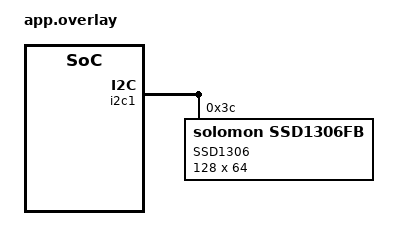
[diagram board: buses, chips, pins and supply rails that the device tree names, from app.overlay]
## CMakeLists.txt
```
cmake_minimum_required(VERSION 3.20)
set(BOARD esp32_devkitc_wrover)

find_package(Zephyr)
project(zephyr_ssd1306)

target_sources(app PRIVATE src/main.c)
```

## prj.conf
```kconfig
CONFIG_I2C=y
CONFIG_DISPLAY=y
CONFIG_SSD1306=y
CONFIG_LOG=y
CONFIG_LOG_BACKEND_UART=y
CONFIG_UART_ASYNC_API=y
CONFIG_SSD1306_SH1106_COMPATIBLE=n
CONFIG_CHARACTER_FRAMEBUFFER=y
CONFIG_CFB_LOG_LEVEL_DBG=y
CONFIG_STDOUT_CONSOLE=y
CONFIG_PRINTK=y
CONFIG_HEAP_MEM_POOL_SIZE=4096
```

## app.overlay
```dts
&i2c1 {
	compatible = "nordic,nrf-twim";
		status = "okay";                                                                      
        zephyr,concat-buf-size = <2048>;  
		
		ssd1306: ssd1306@3c {
			compatible = "solomon,ssd1306fb";
			reg = <0x3c>;
			label = "SSD1306";
			width = <128>;
			height = <64>;
			segment-offset = <0>;
			page-offset = <0>;
			display-offset = <0>;
			segment-remap;
			com-invdir;
			prechargep = <0x22>;
			multiplex-ratio = <63>;
		};
};
```

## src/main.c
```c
#include <stdint.h>
#include <zephyr/device.h>
#include <zephyr/kernel.h>
#include <zephyr/drivers/display.h>
#include <zephyr/logging/log.h>
#include <zephyr/drivers/gpio.h>
#include <zephyr/display/cfb.h>

#include "logo_image.h"

#define DISPLAY_BUFFER_PITCH 128

#define LED0_NODE DT_ALIAS(led0)

static const struct gpio_dt_spec led0 = GPIO_DT_SPEC_GET(LED0_NODE, gpios);

LOG_MODULE_REGISTER(display);

static const struct device *display = DEVICE_DT_GET(DT_NODELABEL(ssd1306));

const struct device *uart = DEVICE_DT_GET(DT_NODELABEL(uart0));

void main(void)
{
  if (!device_is_ready(uart))
  {
    return;
  }

  printf("Hello World! %s\n", CONFIG_BOARD);
  gpio_pin_configure_dt(&led0, GPIO_OUTPUT_ACTIVE);
  gpio_pin_set_dt(&led0, 0);

  if (display == NULL)
  {
    LOG_ERR("device pointer is NULL");
    return;
  }

  if (!device_is_ready(display))
  {
    LOG_ERR("display device is not ready,%d, %d", display, display->name);
    while (true)
    {
      gpio_pin_toggle_dt(&led0);
      k_sleep(K_SECONDS(1));
    }

    return;
  }

  struct display_capabilities capabilities;
  display_get_capabilities(display, &capabilities);

  const uint16_t x_res = capabilities.x_resolution;
  const uint16_t y_res = capabilities.y_resolution;

  LOG_INF("x_resolution: %d", x_res);
  LOG_INF("y_resolution: %d", y_res);
  LOG_INF("supported pixel formats: %d", capabilities.supported_pixel_formats);
  LOG_INF("screen_info: %d", capabilities.screen_info);
  LOG_INF("current_pixel_format: %d", capabilities.current_pixel_format);
  LOG_INF("current_orientation: %d", capabilities.current_orientation);

  const struct display_buffer_descriptor buf_desc = {
      .width = x_res,
      .height = y_res,
      .buf_size = x_res * y_res,
      .pitch = DISPLAY_BUFFER_PITCH};

  cfb_framebuffer_clear(display, true);
  if (cfb_framebuffer_init(display) != 0)
  {
    LOG_ERR("Framebuffer initialization failed!");
    return;
  }

  if (display_set_contrast(display, 0) != 0)
  {
    LOG_ERR("could not set display contrast");
  }
  size_t ms_sleep = 5;

  gpio_pin_toggle_dt(&led0);

  while (true)
  {

    gpio_pin_toggle_dt(&led0);

    k_sleep(K_SECONDS(2));

    if (display_write(display, 0, 0, &buf_desc, buf) != 0)
    {
      LOG_ERR("could not write to display");
    }
    manipulate_display_contrast(display, ms_sleep);

    k_sleep(K_SECONDS(2));

    if (cfb_print(display, "Hello World!", 0, 0) != 0)
    {
      LOG_ERR("Failed to print a string on the screen!");
      return;
    }

    if (cfb_framebuffer_finalize(display) != 0)
    {
      LOG_ERR("Framebuffer finalization failed!");
      return;
    }

    manipulate_display_contrast(display, ms_sleep);
  }
}

void manipulate_display_contrast(const struct device *display, size_t ms_sleep)
{
  for (size_t i = 0; i < 255; i++)
  {
    display_set_contrast(display, i);
    k_sleep(K_MSEC(ms_sleep));
  }

  for (size_t i = 255; i > 0; i--)
  {
    display_set_contrast(display, i);
    k_sleep(K_MSEC(ms_sleep));
  }
}
```

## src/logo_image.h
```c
uint8_t buf[1024] = {
0x00, 0xff, 0xff, 0xff, 0xff, 0xff, 0xff, 0xff, 0xff, 0xff, 0xff, 0xff, 0xff, 0xff, 0xff, 0xff, 
0xff, 0xff, 0xff, 0xff, 0xff, 0xff, 0xff, 0xff, 0xff, 0xff, 0xff, 0xff, 0xff, 0xff, 0xff, 0xff, 
0xff, 0xff, 0xff, 0xff, 0xff, 0xff, 0xff, 0xff, 0xff, 0xff, 0x7f, 0x7f, 0x3f, 0x3f, 0x3f, 0x3f, 
0x1f, 0x1f, 0x1f, 0x1f, 0x1f, 0x1f, 0x1f, 0x1f, 0x1f, 0x1f, 0x1f, 0x1f, 0x1f, 0x1f, 0x1f, 0x1f, 
0x1f, 0x1f, 0x1f, 0x0f, 0x0f, 0x0f, 0x0f, 0x0f, 0x0f, 0x0f, 0x0f, 0x0f, 0x0f, 0x1f, 0x1f, 0x1f, 
0x1f, 0x1f, 0x1f, 0x3f, 0x3f, 0x3f, 0x7f, 0x7f, 0xff, 0xff, 0xff, 0xff, 0xff, 0xff, 0xff, 0xff, 
0xff, 0xff, 0xff, 0xff, 0xff, 0xff, 0xff, 0xff, 0xff, 0xff, 0xff, 0xff, 0xff, 0xff, 0xff, 0xff, 
0xff, 0xff, 0xff, 0xff, 0xff, 0xff, 0xff, 0xff, 0xff, 0xff, 0xff, 0xff, 0xff, 0xff, 0xff, 0x00, 
0x00, 0xff, 0xff, 0xff, 0xff, 0xff, 0xff, 0xff, 0xff, 0xff, 0xff, 0xff, 0xff, 0xff, 0xff, 0xff, 
0xff, 0xff, 0xff, 0xff, 0xff, 0xff, 0xff, 0xff, 0xff, 0xff, 0xff, 0xff, 0xff, 0xff, 0xff, 0xff, 
0xff, 0xff, 0x0f, 0x07, 0xc3, 0xe3, 0xf1, 0xf9, 0xfc, 0xfc, 0xfc, 0xfc, 0xfc, 0xfc, 0xfc, 0xfc, 
0xfc, 0xfc, 0xfc, 0xfc, 0xfc, 0xfc, 0xfc, 0xfc, 0xfc, 0xfc, 0xfc, 0xfc, 0xfc, 0xfc, 0xfe, 0xfe, 
0xfe, 0xfe, 0xfe, 0xfe, 0xfe, 0xfe, 0xfe, 0xfe, 0xfe, 0xfe, 0xfe, 0xdc, 0xcc, 0xf0, 0xe0, 0xe0, 
0xc0, 0x80, 0x80, 0x80, 0x00, 0x00, 0x00, 0x00, 0x00, 0x00, 0x00, 0x00, 0x00, 0x01, 0x01, 0x03, 
0x03, 0x07, 0x1f, 0x7f, 0xff, 0xff, 0xff, 0xff, 0xff, 0xff, 0xff, 0xff, 0xff, 0xff, 0xff, 0xff, 
0xff, 0xff, 0xff, 0xff, 0xff, 0xff, 0xff, 0xff, 0xff, 0xff, 0xff, 0xff, 0xff, 0xff, 0xff, 0x00, 
0x00, 0xff, 0xff, 0xff, 0xff, 0xff, 0xff, 0xff, 0xff, 0xff, 0xff, 0xff, 0xff, 0xff, 0xff, 0xff, 
0xff, 0xff, 0xff, 0xff, 0xff, 0xff, 0xff, 0xff, 0xff, 0xff, 0xff, 0xff, 0xff, 0xff, 0xff, 0xff, 
0xfb, 0x43, 0x90, 0xf0, 0xd9, 0xe9, 0xa9, 0xb1, 0xa1, 0x21, 0x01, 0x93, 0xc3, 0xe7, 0xfd, 0xff, 
0xff, 0xfd, 0xfd, 0xfd, 0xfe, 0xfb, 0xe1, 0xc1, 0xc1, 0xc0, 0xc0, 0x62, 0xe2, 0xe2, 0xe2, 0xf2, 
0xf2, 0xf2, 0xf2, 0xf2, 0xf6, 0xf4, 0xfd, 0xfd, 0xff, 0xff, 0xff, 0xff, 0xff, 0xff, 0xff, 0xff, 
0xff, 0xff, 0xff, 0xff, 0xff, 0xfe, 0x7e, 0x00, 0x00, 0xc0, 0xf0, 0xf0, 0xf0, 0xf0, 0xf0, 0xf8, 
0xb8, 0xb8, 0x38, 0x40, 0x40, 0xcf, 0x1f, 0xbf, 0xff, 0xff, 0xff, 0xff, 0xff, 0xff, 0xff, 0xff, 
0xff, 0xff, 0xff, 0xff, 0xff, 0xff, 0xff, 0xff, 0xff, 0xff, 0xff, 0xff, 0xff, 0xff, 0xff, 0x00, 
0x00, 0xff, 0xff, 0xff, 0xff, 0xff, 0xff, 0xff, 0xff, 0xff, 0xff, 0xff, 0xff, 0xff, 0xff, 0xff, 
0xff, 0xff, 0xff, 0xff, 0xff, 0xff, 0xff, 0xff, 0xff, 0xff, 0xff, 0xff, 0xff, 0xff, 0xff, 0xff, 
0xfd, 0xfb, 0x87, 0x0f, 0x0f, 0x0f, 0x0b, 0x03, 0x00, 0x03, 0x03, 0xab, 0xe7, 0xc7, 0xcb, 0xc3, 
0xc3, 0xc3, 0xc3, 0xc3, 0xc3, 0x43, 0x43, 0x41, 0x43, 0x43, 0x43, 0x41, 0x43, 0x03, 0x03, 0x07, 
0x07, 0x0f, 0x4f, 0x7b, 0x37, 0x07, 0x07, 0x07, 0x07, 0x07, 0x07, 0x07, 0x07, 0x03, 0x03, 0x03, 
0x13, 0x13, 0x91, 0xc1, 0x41, 0x40, 0x00, 0x00, 0x00, 0x0f, 0x0f, 0x6f, 0xef, 0xff, 0xf7, 0xc7, 
0x07, 0xf3, 0xfb, 0xff, 0xfd, 0xfe, 0xfe, 0xff, 0xff, 0xff, 0xff, 0xff, 0xff, 0xff, 0xff, 0xff, 
0xff, 0xff, 0xff, 0xff, 0xff, 0xff, 0xff, 0xff, 0xff, 0xff, 0xff, 0xff, 0xff, 0xff, 0xff, 0x00, 
0x00, 0xff, 0xff, 0xff, 0xff, 0xff, 0xff, 0xff, 0xff, 0xff, 0xff, 0xff, 0xff, 0xff, 0xff, 0xff, 
0xff, 0xff, 0xff, 0xff, 0xff, 0xff, 0xff, 0xff, 0xff, 0xff, 0xff, 0xff, 0xff, 0xff, 0xff, 0xff, 
0xff, 0xff, 0xff, 0xfe, 0xfc, 0xf8, 0x80, 0x80, 0x30, 0x30, 0x20, 0x00, 0x01, 0x05, 0x05, 0x00, 
0x00, 0x00, 0x00, 0x00, 0x00, 0x00, 0x00, 0x00, 0x00, 0x00, 0x00, 0x00, 0x00, 0x20, 0x30, 0x20, 
0x00, 0x00, 0x00, 0x04, 0x00, 0x80, 0x80, 0x80, 0xc0, 0xc0, 0xe0, 0xe0, 0xe0, 0xe0, 0xe0, 0xe0, 
0xf0, 0xf0, 0xf0, 0xf0, 0xf0, 0xf9, 0xf9, 0xf8, 0xf8, 0xfc, 0xfc, 0xfe, 0xff, 0xff, 0xff, 0xff, 
0xf0, 0x8f, 0x7f, 0xff, 0xff, 0xff, 0xff, 0xff, 0xff, 0xff, 0xff, 0xff, 0xff, 0xff, 0xff, 0xff, 
0xff, 0xff, 0xff, 0xff, 0xff, 0xff, 0xff, 0xff, 0xff, 0xff, 0xff, 0xff, 0xff, 0xff, 0xff, 0x00, 
0x00, 0xff, 0xff, 0xff, 0xff, 0xff, 0xff, 0xff, 0xff, 0xff, 0xff, 0xff, 0xff, 0xff, 0xff, 0xff, 
0xff, 0xff, 0xff, 0xff, 0xff, 0xff, 0xff, 0xff, 0xff, 0xff, 0xff, 0xff, 0xff, 0xff, 0xff, 0xff, 
0xff, 0xff, 0xff, 0xff, 0xff, 0xff, 0xff, 0xff, 0xff, 0xff, 0x7f, 0x7e, 0x7e, 0x7e, 0xfe, 0xfe, 
0xbe, 0xfe, 0xfe, 0xde, 0xc0, 0xfc, 0xfe, 0xfe, 0xfe, 0xfe, 0xfe, 0xfc, 0xfc, 0xfe, 0xfe, 0xfe, 
0xfe, 0xfe, 0xfe, 0xff, 0xff, 0xff, 0xff, 0xff, 0xff, 0xff, 0xff, 0xff, 0xff, 0xff, 0xff, 0xff, 
0xff, 0xff, 0xff, 0xff, 0xff, 0xff, 0xff, 0xff, 0xff, 0xff, 0xff, 0xff, 0xff, 0xff, 0xff, 0xff, 
0xff, 0xff, 0xfe, 0xfd, 0xf9, 0xfb, 0xfb, 0xfb, 0xff, 0xff, 0xff, 0xff, 0xff, 0xff, 0xff, 0xff, 
0xff, 0xff, 0xf7, 0xf7, 0xf7, 0xf7, 0xf7, 0xff, 0xff, 0xff, 0xff, 0xef, 0xef, 0xef, 0xef, 0x00, 
0x00, 0xbf, 0xff, 0xff, 0xff, 0xff, 0xff, 0xdf, 0xdf, 0xdf, 0xdf, 0xdf, 0xdf, 0xdf, 0xdf, 0xdf, 
0xff, 0xff, 0xff, 0xef, 0xff, 0xff, 0xff, 0xff, 0xff, 0xff, 0xff, 0xff, 0xff, 0xff, 0xff, 0xff, 
0xff, 0xff, 0xff, 0xff, 0xff, 0xff, 0xff, 0xff, 0xff, 0xff, 0xff, 0xff, 0xff, 0xff, 0xff, 0xff, 
0xff, 0xff, 0xff, 0xff, 0xff, 0xff, 0xff, 0xff, 0xff, 0xff, 0xff, 0xff, 0xff, 0xff, 0xff, 0xff, 
0xff, 0xff, 0xff, 0xff, 0xef, 0xff, 0xff, 0xff, 0xff, 0xdf, 0xff, 0xff, 0xff, 0xff, 0xff, 0xff, 
0xff, 0xff, 0xff, 0xff, 0xff, 0xff, 0xff, 0xff, 0xff, 0xff, 0xff, 0xff, 0xff, 0xff, 0xff, 0xff, 
0xff, 0xff, 0xff, 0xff, 0xff, 0xff, 0xff, 0xff, 0xff, 0xff, 0xff, 0xff, 0xff, 0xff, 0xff, 0xff, 
0xff, 0xff, 0xff, 0xfd, 0xfd, 0xf9, 0xfb, 0xfb, 0xfb, 0xfb, 0xfb, 0xfb, 0xff, 0xff, 0xff, 0x00, 
0x00, 0xff, 0xff, 0xff, 0xff, 0xff, 0xff, 0xff, 0xff, 0xff, 0xff, 0xff, 0xff, 0xff, 0xff, 0x7f, 
0x3f, 0xff, 0xff, 0xff, 0xff, 0xff, 0xff, 0xff, 0xff, 0xff, 0xff, 0xff, 0xff, 0xff, 0xff, 0xff, 
0xff, 0xff, 0xff, 0xff, 0xff, 0xff, 0xff, 0xff, 0xff, 0xff, 0xff, 0xff, 0xff, 0xff, 0xff, 0xff, 
0xff, 0xff, 0xff, 0xff, 0xff, 0xff, 0xff, 0xff, 0xff, 0xff, 0xff, 0xff, 0xff, 0xff, 0xff, 0xd7, 
0x3f, 0x7f, 0xff, 0xff, 0xff, 0xff, 0xff, 0xff, 0xff, 0xff, 0xff, 0xff, 0xff, 0xff, 0xff, 0xff, 
0xff, 0xff, 0xff, 0xff, 0xff, 0xff, 0xff, 0xff, 0xff, 0xff, 0xff, 0xff, 0xff, 0xff, 0xff, 0xff, 
0xff, 0xff, 0xff, 0xff, 0xff, 0xff, 0xff, 0xff, 0xff, 0xff, 0xff, 0xff, 0xff, 0xff, 0xff, 0xff, 
0xff, 0xff, 0xff, 0xff, 0xff, 0xff, 0xff, 0xff, 0xff, 0xff, 0xff, 0xff, 0xff, 0xff, 0xff, 0x00};
```
